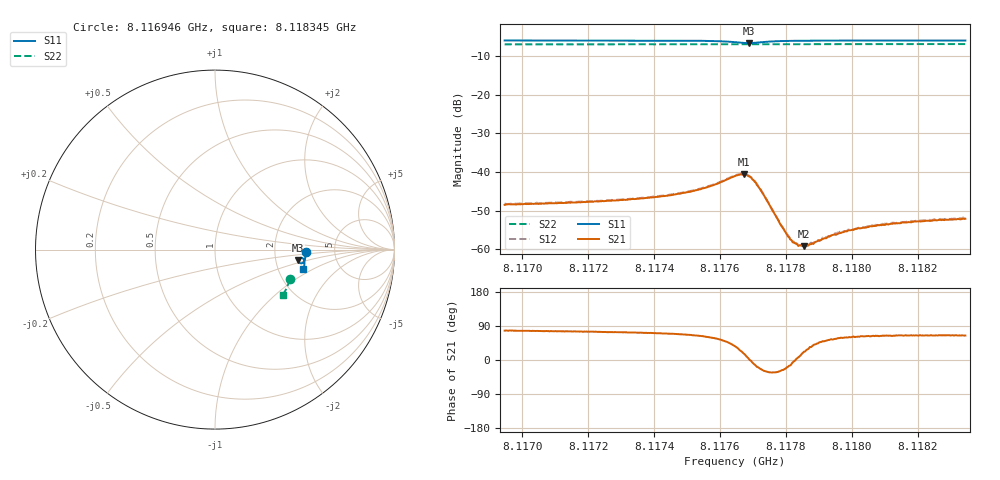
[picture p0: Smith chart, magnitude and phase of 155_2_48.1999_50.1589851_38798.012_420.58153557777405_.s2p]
#  HZ  S  RI  R  50.00
! Rohde & Schwarz Vector Network Analyzer
! Rohde-Schwarz,ZNB20-2Port,1311601062101988,3.16
! Created: UTC 3/20/2024, 11:42:59 AM
! freq[Hz]  re:S11  im:S11  re:S21  im:S21  re:S12  im:S12  re:S22  im:S22
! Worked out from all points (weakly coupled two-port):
!   401 points, 8.116946 GHz to 8.118345 GHz, reference 50 ohm
!   highest |S21| = -40.55 dB at 8.117674 GHz (marker M1); lowest = -59.2 dB at 8.117855 GHz (marker M2)
!   lowest |S11| = -6.6 dB at 8.117688 GHz (marker M3), VSWR 2.76, Z = 134 - j20.1 ohm
!   |S11| at or under -10 dB: nowhere
!   |S22| runs from -6.9 to -6.8 dB; largest |S21 - S12| = 0.00032
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8.1169461e9  0.506 -0.0129  0.000811 0.00368  0.000907 0.0038  0.4189 -0.1659
8.1171804e9  0.5048 -0.0315  0.00105 0.00396  0.00109 0.00402  0.4134 -0.1812
8.1173238e9  0.5034 -0.0436  0.0013 0.00424  0.0014 0.00428  0.4096 -0.1904
8.1174147e9  0.5016 -0.052  0.00159 0.00455  0.00166 0.0046  0.4071 -0.1964
8.1174847e9  0.4996 -0.0591  0.00202 0.00491  0.00216 0.00497  0.405 -0.2009
8.1175371e9  0.4968 -0.0653  0.00262 0.00537  0.00275 0.00544  0.4034 -0.2043
8.1175896e9  0.491 -0.0725  0.00387 0.00586  0.00406 0.00593  0.4015 -0.2077
8.1176456e9  0.475 -0.076  0.00718 0.00524  0.00738 0.0053  0.399 -0.211
8.1176735e9  0.4647 -0.0668  0.00903 0.00259  0.0092 0.00246  0.3981 -0.2124
8.1176875e9  0.4637 -0.0585  0.00883 0.000418  0.00903 0.000401  0.3977 -0.2127
8.1177015e9  0.4674 -0.0507  0.00777 -0.00127  0.00788 -0.00134  0.3976 -0.2131
8.117719e9  0.4754 -0.0459  0.00583 -0.00227  0.00591 -0.00236  0.3975 -0.2142
8.1177889e9  0.4946 -0.0546  0.00174 -0.00086  0.00176 -0.000932  0.3962 -0.2189
8.1178134e9  0.4966 -0.0587  0.0013 -0.000335  0.00136 -0.000317  0.3954 -0.2206
8.1178344e9  0.4975 -0.062  0.00115 9.77e-05  0.00118 8.94e-05  0.3947 -0.222
8.1178554e9  0.4981 -0.0649  0.00102 0.000413  0.00103 0.000417  0.3939 -0.2234
8.1178799e9  0.4984 -0.0679  0.000965 0.000716  0.00096 0.000704  0.3932 -0.225
8.1179393e9  0.4984 -0.0747  0.000885 0.00124  0.000916 0.00125  0.3915 -0.2287
8.1179953e9  0.498 -0.0802  0.000883 0.00153  0.000901 0.00156  0.3896 -0.2323
8.1181142e9  0.4967 -0.0906  0.00092 0.00191  0.000944 0.00193  0.3854 -0.2396
8.1181911e9  0.4954 -0.097  0.00098 0.00207  0.001 0.00209  0.3829 -0.2443
8.118345e9  0.493 -0.109  0.00107 0.00225  0.00113 0.00226  0.3773 -0.2536
